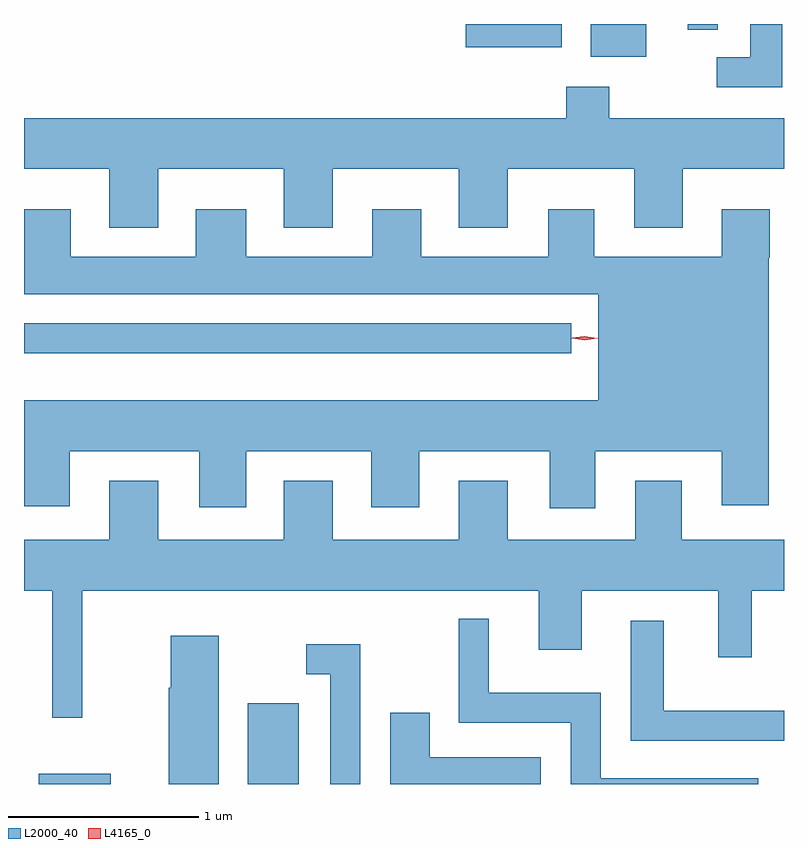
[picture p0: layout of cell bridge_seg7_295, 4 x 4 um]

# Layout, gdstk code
import gdstk
lib = gdstk.Library(unit=1e-6, precision=1e-09)
def R(c, l, rs):  # rectangles x0, y0, x1, y1
    for r in rs: c.add(gdstk.rectangle(r[:2], r[2:], *l))
def P(c, l, *ps):  # polygons
    for p in ps: c.add(gdstk.Polygon(p, *l))
L2000_40 = (2000, 40)
L4165_0 = (4165, 0)

bridge_seg7_295 = lib.new_cell('bridge_seg7_295')
R(bridge_seg7_295, L2000_40, [(1345.266,1775.459,1345.644,1775.514), (1346.366,1775.459,1346.634,1775.884), (1345.188,1777.726,1348.068,1777.884), (1348.171,1779.286,1348.464,1779.459), (1347.513,1779.336,1348.019,1779.459), (1348.681,1779.428,1348.839,1779.459)])
P(bridge_seg7_295, L2000_40, [(1349.179,1779.459),(1349.011,1779.459),(1349.011,1779.284),(1348.833,1779.284),(1348.833,1779.126),(1349.179,1779.126)],
  [(1345.894,1778.696),(1346.556,1778.696),(1346.556,1778.386),(1346.814,1778.386),(1346.814,1778.696),(1347.476,1778.696),(1347.476,1778.386),(1347.734,1778.386),(1347.734,1778.696),(1348.401,1778.696),(1348.401,1778.386),(1348.654,1778.386),(1348.654,1778.696),(1349.188,1778.696),(1349.188,1778.964),(1348.269,1778.964),(1348.269,1779.129),(1348.041,1779.129),(1348.041,1778.964),(1345.188,1778.964),(1345.188,1778.696),(1345.636,1778.696),(1345.636,1778.386),(1345.894,1778.386)],
  [(1348.194,1777.211),(1348.861,1777.211),(1348.861,1776.926),(1349.109,1776.926),(1349.109,1778.23),(1349.114,1778.23),(1349.114,1778.484),(1348.861,1778.484),(1348.861,1778.234),(1348.189,1778.234),(1348.189,1778.484),(1347.946,1778.484),(1347.946,1778.234),(1347.279,1778.234),(1347.279,1778.484),(1347.021,1778.484),(1347.021,1778.234),(1346.359,1778.234),(1346.359,1778.484),(1346.091,1778.484),(1346.091,1778.234),(1345.434,1778.234),(1345.434,1778.484),(1345.188,1778.484),(1345.188,1778.036),(1348.211,1778.036),(1348.211,1777.479),(1345.188,1777.479),(1345.188,1776.921),(1345.429,1776.921),(1345.429,1777.211),(1346.111,1777.211),(1346.111,1776.916),(1346.359,1776.916),(1346.359,1777.211),(1347.016,1777.211),(1347.016,1776.916),(1347.269,1776.916),(1347.269,1777.211),(1347.956,1777.211),(1347.956,1776.911),(1348.194,1776.911)],
  [(1345.494,1776.476),(1347.896,1776.476),(1347.896,1776.166),(1348.124,1776.166),(1348.124,1776.476),(1348.841,1776.476),(1348.841,1776.126),(1349.019,1776.126),(1349.019,1776.476),(1349.188,1776.476),(1349.188,1776.744),(1348.649,1776.744),(1348.649,1777.054),(1348.406,1777.054),(1348.406,1776.744),(1347.734,1776.744),(1347.734,1777.054),(1347.476,1777.054),(1347.476,1776.744),(1346.814,1776.744),(1346.814,1777.054),(1346.556,1777.054),(1346.556,1776.744),(1345.894,1776.744),(1345.894,1777.054),(1345.636,1777.054),(1345.636,1776.744),(1345.188,1776.744),(1345.188,1776.476),(1345.336,1776.476),(1345.336,1775.808),(1345.494,1775.808)],
  [(1349.053,1775.489),(1348.224,1775.489),(1348.224,1775.939),(1347.634,1775.939),(1347.634,1776.328),(1347.476,1776.328),(1347.476,1775.781),(1348.066,1775.781),(1348.066,1775.459),(1349.053,1775.459)],
  [(1349.188,1775.844),(1348.554,1775.844),(1348.554,1776.319),(1348.381,1776.319),(1348.381,1775.686),(1349.188,1775.686)],
  [(1346.214,1776.239),(1345.961,1776.239),(1345.961,1775.965),(1345.951,1775.965),(1345.951,1775.459),(1346.214,1775.459)],
  [(1346.959,1776.194),(1346.673,1776.194),(1346.673,1776.036),(1346.801,1776.036),(1346.801,1775.459),(1346.959,1775.459)],
  [(1347.909,1775.599),(1347.324,1775.599),(1347.324,1775.834),(1347.116,1775.834),(1347.116,1775.459),(1347.909,1775.459)])
P(bridge_seg7_295, L4165_0, [(1348.139,1777.795),(1348.07,1777.804),(1348.07,1777.805),(1348.07,1777.805),(1348.139,1777.815),(1348.207,1777.805),(1348.208,1777.805),(1348.207,1777.804)],
  [(1348.135,1777.796),(1348.073,1777.808),(1348.073,1777.808),(1348.073,1777.808),(1348.136,1777.816),(1348.197,1777.805),(1348.197,1777.805),(1348.197,1777.804)])

lib.write_gds('bridge_seg7_295.gds')
